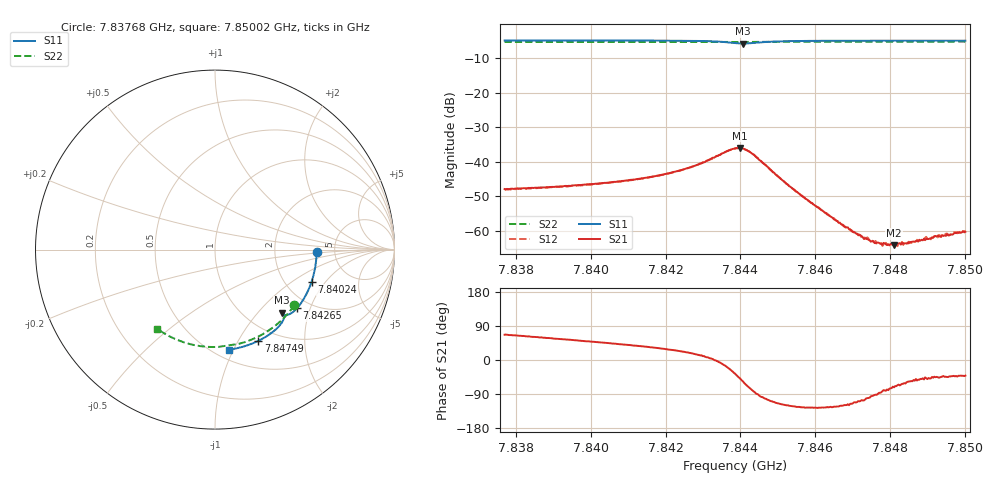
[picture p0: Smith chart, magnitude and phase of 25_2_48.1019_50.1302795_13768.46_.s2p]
#  HZ  S  RI  R  50.00
! Rohde & Schwarz Vector Network Analyzer
! Rohde-Schwarz,ZNB20-2Port,1311601062101988,3.16
! Created: UTC 12/23/2023, 3:37:05 AM
! freq[Hz]  re:S11  im:S11  re:S21  im:S21  re:S12  im:S12  re:S22  im:S22
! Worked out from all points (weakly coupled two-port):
!   401 points, 7.83768 GHz to 7.85002 GHz, reference 50 ohm
!   highest |S21| = -36.00 dB at 7.84398 GHz (marker M1); lowest = -64.1 dB at 7.84811 GHz (marker M2)
!   lowest |S11| = -5.8 dB at 7.84407 GHz (marker M3), VSWR 3.10, Z = 71.3 - j68 ohm
!   |S11| at or under -10 dB: nowhere
!   |S22| runs from -5.4 to -5.3 dB; largest |S21 - S12| = 0.0003
!   S11 on the Smith chart (normalised r, x): 7.83768 GHz: 3.61, -0.11; 7.84024 GHz: 2.76, -1.46; 7.84265 GHz: 1.70, -1.63; 7.84749 GHz: 0.82, -1.22; 7.85002 GHz: 0.59, -0.96
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7.837684e9  0.5666 -0.0106  0.0016 0.00371  0.00157 0.00367  0.4413 -0.311
7.839751e9  0.5477 -0.147  0.00294 0.00358  0.0029 0.00354  0.3437 -0.4174
7.840244e9  0.5381 -0.1791  0.00337 0.00354  0.00329 0.0035  0.3164 -0.4389
7.841817e9  0.4928 -0.2775  0.00544 0.00327  0.00541 0.00325  0.2212 -0.4944
7.84265e9  0.4569 -0.3266  0.0079 0.00266  0.00783 0.00264  0.1663 -0.5153
7.84339e9  0.4094 -0.3623  0.0122 -0.000741  0.0121 -0.000792  0.1156 -0.5281
7.843853e9  0.3753 -0.3602  0.0125 -0.00911  0.0127 -0.00912  0.0848 -0.5324
7.843976e9  0.3722 -0.3548  0.0107 -0.0117  0.0107 -0.0116  0.077 -0.5334
7.844069e9  0.3728 -0.3517  0.00852 -0.013  0.00843 -0.0129  0.0712 -0.5342
7.844377e9  0.3836 -0.3564  0.00115 -0.0124  0.00118 -0.0123  0.0516 -0.5377
7.845241e9  0.3665 -0.415  -0.00237 -0.00416  -0.00234 -0.00417  -0.00898 -0.543
7.84592e9  0.3322 -0.4505  -0.00146 -0.00206  -0.00147 -0.00203  -0.057 -0.5408
7.846814e9  0.2813 -0.4867  -0.000554 -0.00101  -0.000522 -0.000991  -0.1191 -0.5311
7.847308e9  0.2518 -0.5031  -0.000217 -0.000733  -0.000194 -0.000789  -0.1528 -0.523
7.847493e9  0.2406 -0.5089  -6.94e-05 -0.000696  -0.000121 -0.000722  -0.1652 -0.5192
7.847801e9  0.2218 -0.5175  8.75e-05 -0.000632  8.63e-05 -0.000602  -0.1858 -0.5123
7.847986e9  0.2102 -0.5223  0.000153 -0.000606  0.000153 -0.0006  -0.198 -0.5079
7.84811e9  0.2023 -0.5253  0.000191 -0.000593  0.000209 -0.000606  -0.206 -0.5046
7.848542e9  0.1752 -0.5351  0.000382 -0.000575  0.000359 -0.000584  -0.2338 -0.4927
7.849004e9  0.1456 -0.5439  0.000488 -0.000588  0.00052 -0.000573  -0.2629 -0.4781
7.84922e9  0.1314 -0.5474  0.000594 -0.000603  0.000572 -0.000601  -0.2761 -0.4708
7.850022e9  0.079 -0.557  0.000734 -0.000641  0.000769 -0.000629  -0.3233 -0.4402
